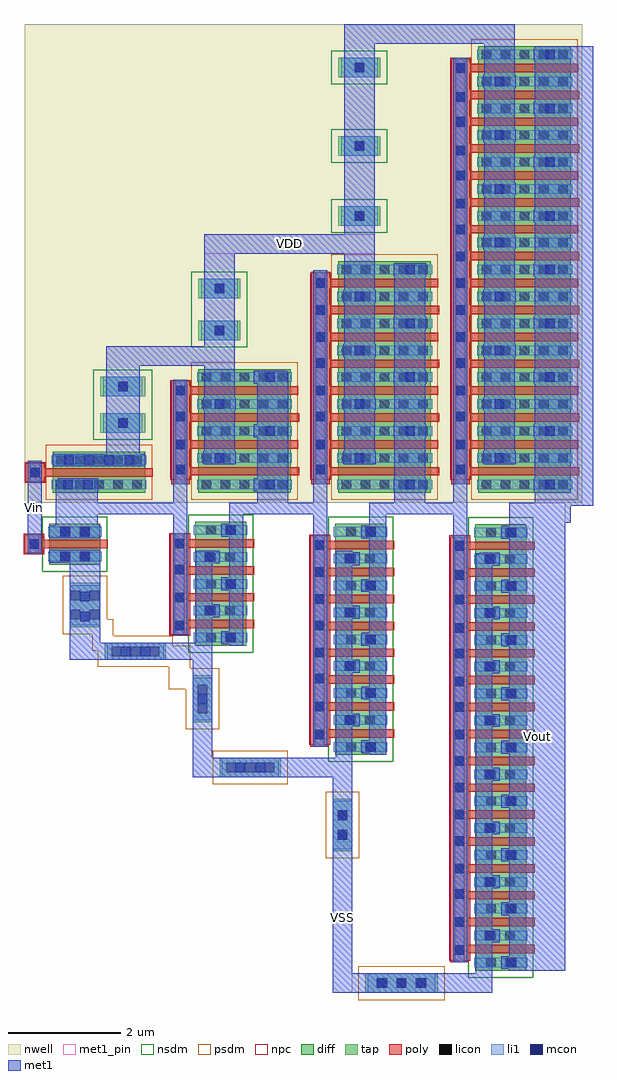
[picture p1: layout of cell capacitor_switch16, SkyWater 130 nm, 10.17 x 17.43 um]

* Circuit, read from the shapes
.subckt capacitor_switch16 VDD VSS Vin Vout
XM1 n1 Vin VSS VSS sky130_fd_pr__nfet_01v8 w=0.91 l=0.15
XM2 VSS n1 n2 VSS sky130_fd_pr__nfet_01v8 w=0.91 l=0.15 m=4
XM3 VSS n2 n3 VSS sky130_fd_pr__nfet_01v8 w=0.91 l=0.15 m=8
XM4 VSS n3 Vout VSS sky130_fd_pr__nfet_01v8 w=0.91 l=0.15 m=16
XM5 VDD Vin n1 VDD sky130_fd_pr__pfet_01v8 w=1.65 l=0.15
XM6 VDD n1 n2 VDD sky130_fd_pr__pfet_01v8 w=1.65 l=0.15 m=4
XM7 VDD n2 n3 VDD sky130_fd_pr__pfet_01v8 w=1.65 l=0.15 m=8
XM8 VDD n3 Vout VDD sky130_fd_pr__pfet_01v8 w=1.65 l=0.15 m=16
.ends

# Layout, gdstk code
from math import pi, radians
import gdstk
lib = gdstk.Library(unit=1e-6, precision=1e-09)
def R(c, l, rs):  # rectangles x0, y0, x1, y1
    for r in rs: c.add(gdstk.rectangle(r[:2], r[2:], *l))
def A(c, l, x, y, w, h, nx, ny, dx, dy):  # array of equal rectangles
    R(c, l, [(x+i*dx, y+j*dy, x+i*dx+w, y+j*dy+h) for i in range(nx) for j in range(ny)])
nwell = (64, 20)
diff = (65, 20)
tap = (65, 44)
poly = (66, 20)
licon = (66, 44)
li1 = (67, 20)
mcon = (67, 44)
met1_pin = (68, 16)
met1 = (68, 20)
nsdm = (93, 44)
psdm = (94, 20)
npc = (95, 20)

sky130_fd_pr__pfet_01v8_ = lib.new_cell('sky130_fd_pr__pfet_01v8_46WN3R')
R(sky130_fd_pr__pfet_01v8_, nwell, [(-0.545,-1.145,0.545,1.315)])
R(sky130_fd_pr__pfet_01v8_, diff, [(-0.365,-0.645,0.365,1.005)])
R(sky130_fd_pr__pfet_01v8_, poly, [(-0.165,-1.13,0.165,-0.8), (-0.075,-0.8,0.075,1.135)])
A(sky130_fd_pr__pfet_01v8_, licon, -0.305, -0.585, 0.17, 0.17, 1, 5, 0, 0.34)
A(sky130_fd_pr__pfet_01v8_, licon, 0.135, -0.585, 0.17, 0.17, 1, 5, 0, 0.34)
R(sky130_fd_pr__pfet_01v8_, licon, [(-0.085,-1.05,0.085,-0.88)])
R(sky130_fd_pr__pfet_01v8_, li1, [(-0.165,-1.05,0.165,-0.88), (-0.305,-0.665,-0.135,1.025), (0.135,-0.665,0.305,1.025)])
A(sky130_fd_pr__pfet_01v8_, mcon, 0.135, -0.445, 0.17, 0.17, 1, 4, 0, 0.36)
R(sky130_fd_pr__pfet_01v8_, mcon, [(-0.085,-1.05,0.085,-0.88), (-0.305,-0.46,-0.135,-0.29), (-0.305,-0.1,-0.135,0.07)])
R(sky130_fd_pr__pfet_01v8_, met1, [(-0.145,-1.08,0.145,-0.85), (0.105,-0.645,0.335,1.005), (-0.335,-0.56,-0.105,0.17)])
R(sky130_fd_pr__pfet_01v8_, psdm, [(-0.49,-0.77,0.49,1.13)])
R(sky130_fd_pr__pfet_01v8_, npc, [(-0.185,-1.15,0.185,-0.78)])

sky130_fd_pr__nfet_01v8_ = lib.new_cell('sky130_fd_pr__nfet_01v8_9CGS2F')
R(sky130_fd_pr__nfet_01v8_, diff, [(-0.365,-0.3,0.365,0.61)])
R(sky130_fd_pr__nfet_01v8_, poly, [(-0.165,-0.74,0.165,-0.41), (-0.075,-0.41,0.075,0.74)])
R(sky130_fd_pr__nfet_01v8_, licon, [(-0.085,-0.66,0.085,-0.49), (-0.305,-0.1,-0.135,0.07), (0.135,-0.1,0.305,0.07), (-0.305,0.24,-0.135,0.41), (0.135,0.24,0.305,0.41)])
R(sky130_fd_pr__nfet_01v8_, li1, [(-0.165,-0.66,0.165,-0.49), (-0.305,-0.32,-0.135,0.63), (0.135,-0.32,0.305,0.63)])
R(sky130_fd_pr__nfet_01v8_, mcon, [(-0.085,-0.66,0.085,-0.49), (-0.305,-0.11,-0.135,0.06), (0.135,-0.11,0.305,0.06), (-0.305,0.25,-0.135,0.42), (0.135,0.25,0.305,0.42)])
R(sky130_fd_pr__nfet_01v8_, met1, [(-0.145,-0.69,0.145,-0.46), (-0.335,-0.3,-0.105,0.61), (0.105,-0.3,0.335,0.61)])
R(sky130_fd_pr__nfet_01v8_, nsdm, [(-0.49,-0.425,0.49,0.735)])
R(sky130_fd_pr__nfet_01v8_, npc, [(-0.185,-0.76,0.185,-0.39)])

c_sky130_fd_pr__nfet_01v8_ = lib.new_cell('sky130_fd_pr__nfet_01v8_5EDJZL')
R(c_sky130_fd_pr__nfet_01v8_, diff, [(-1.105,-0.455,1.105,0.455)])
A(c_sky130_fd_pr__nfet_01v8_, poly, -0.795, -0.565, 0.15, 1.17, 4, 1, 0.48, 0)
R(c_sky130_fd_pr__nfet_01v8_, poly, [(-0.895,-0.895,0.905,-0.565)])
A(c_sky130_fd_pr__nfet_01v8_, licon, -0.345, -0.815, 0.17, 0.17, 3, 1, 0.5, 0)
A(c_sky130_fd_pr__nfet_01v8_, licon, -1.045, -0.255, 0.17, 0.17, 5, 2, 0.48, 0.34)
R(c_sky130_fd_pr__nfet_01v8_, licon, [(-0.805,-0.815,-0.635,-0.645)])
A(c_sky130_fd_pr__nfet_01v8_, li1, -1.045, -0.475, 0.17, 0.95, 5, 1, 0.48, 0)
R(c_sky130_fd_pr__nfet_01v8_, li1, [(-0.895,-0.815,0.905,-0.645)])
A(c_sky130_fd_pr__nfet_01v8_, mcon, -0.345, -0.815, 0.17, 0.17, 3, 1, 0.5, 0)
A(c_sky130_fd_pr__nfet_01v8_, mcon, -1.045, 0.105, 0.17, 0.17, 3, 1, 0.96, 0)
R(c_sky130_fd_pr__nfet_01v8_, mcon, [(-0.805,-0.815,-0.635,-0.645), (-0.565,-0.28,-0.395,-0.11), (0.395,-0.28,0.565,-0.11)])
A(c_sky130_fd_pr__nfet_01v8_, met1, -1.075, 0.015, 0.23, 0.355, 3, 1, 0.96, 0)
R(c_sky130_fd_pr__nfet_01v8_, met1, [(-0.895,-0.845,0.905,-0.615), (-0.595,-0.37,-0.365,-0.015), (0.365,-0.37,0.595,-0.015)])
R(c_sky130_fd_pr__nfet_01v8_, nsdm, [(-1.23,-0.58,1.23,0.58)])
R(c_sky130_fd_pr__nfet_01v8_, npc, [(-0.905,-0.915,0.925,-0.545)])

c_sky130_fd_pr__pfet_01v8_ = lib.new_cell('sky130_fd_pr__pfet_01v8_2FR7QD')
R(c_sky130_fd_pr__pfet_01v8_, nwell, [(-4.185,-1.325,4.165,1.025)])
R(c_sky130_fd_pr__pfet_01v8_, diff, [(-3.985,-0.825,3.985,0.825)])
A(c_sky130_fd_pr__pfet_01v8_, poly, -3.675, -0.98, 0.15, 1.935, 8, 1, 0.96, 0)
A(c_sky130_fd_pr__pfet_01v8_, poly, -3.195, -0.98, 0.15, 1.955, 8, 1, 0.96, 0)
R(c_sky130_fd_pr__pfet_01v8_, poly, [(-3.765,-1.31,3.835,-0.98)])
A(c_sky130_fd_pr__pfet_01v8_, licon, 0.155, -1.23, 0.17, 0.17, 3, 1, 0.48, 0)
A(c_sky130_fd_pr__pfet_01v8_, licon, -3.925, -0.765, 0.17, 0.17, 17, 5, 0.48, 0.34)
R(c_sky130_fd_pr__pfet_01v8_, licon, [(-3.685,-1.23,-3.515,-1.06), (-3.165,-1.23,-2.995,-1.06), (-2.725,-1.23,-2.555,-1.06), (-2.215,-1.23,-2.045,-1.06), (-1.765,-1.23,-1.595,-1.06), (-1.265,-1.23,-1.095,-1.06), (-0.805,-1.23,-0.635,-1.06), (-0.315,-1.23,-0.145,-1.06), (1.585,-1.23,1.755,-1.06), (2.075,-1.23,2.245,-1.06), (2.535,-1.23,2.705,-1.06), (3.035,-1.23,3.205,-1.06), (3.485,-1.23,3.655,-1.06)])
A(c_sky130_fd_pr__pfet_01v8_, li1, -3.925, -0.845, 0.17, 1.69, 17, 1, 0.48, 0)
R(c_sky130_fd_pr__pfet_01v8_, li1, [(-3.765,-1.23,3.835,-1.06)])
A(c_sky130_fd_pr__pfet_01v8_, mcon, 0.155, -1.23, 0.17, 0.17, 3, 1, 0.48, 0)
A(c_sky130_fd_pr__pfet_01v8_, mcon, -3.445, -0.535, 0.17, 0.17, 8, 1, 0.96, 0)
A(c_sky130_fd_pr__pfet_01v8_, mcon, -3.925, 0.365, 0.17, 0.17, 9, 1, 0.96, 0)
R(c_sky130_fd_pr__pfet_01v8_, mcon, [(-3.685,-1.23,-3.515,-1.06), (-3.165,-1.23,-2.995,-1.06), (-2.725,-1.23,-2.555,-1.06), (-2.215,-1.23,-2.045,-1.06), (-1.765,-1.23,-1.595,-1.06), (-1.265,-1.23,-1.095,-1.06), (-0.805,-1.23,-0.635,-1.06), (-0.315,-1.23,-0.145,-1.06), (1.585,-1.23,1.755,-1.06), (2.075,-1.23,2.245,-1.06), (2.535,-1.23,2.705,-1.06), (3.035,-1.23,3.205,-1.06), (3.485,-1.23,3.655,-1.06)])
A(c_sky130_fd_pr__pfet_01v8_, met1, -3.475, -0.74, 0.23, 0.58, 8, 1, 0.96, 0)
A(c_sky130_fd_pr__pfet_01v8_, met1, -3.955, 0.16, 0.23, 0.58, 9, 1, 0.96, 0)
R(c_sky130_fd_pr__pfet_01v8_, met1, [(-3.765,-1.26,3.835,-1.03)])
R(c_sky130_fd_pr__pfet_01v8_, psdm, [(-4.11,-0.95,4.11,0.95)])
R(c_sky130_fd_pr__pfet_01v8_, npc, [(-3.785,-1.33,3.755,-0.96)])

c_sky130_fd_pr__nfet_01v8__ = lib.new_cell('sky130_fd_pr__nfet_01v8_29RM5N')
R(c_sky130_fd_pr__nfet_01v8__, diff, [(-3.985,-0.455,3.985,0.455)])
A(c_sky130_fd_pr__nfet_01v8__, poly, -3.675, -0.565, 0.15, 1.17, 16, 1, 0.48, 0)
R(c_sky130_fd_pr__nfet_01v8__, poly, [(-3.765,-0.895,3.835,-0.565)])
A(c_sky130_fd_pr__nfet_01v8__, licon, 0.155, -0.815, 0.17, 0.17, 3, 1, 0.48, 0)
A(c_sky130_fd_pr__nfet_01v8__, licon, 2.535, -0.815, 0.17, 0.17, 3, 1, 0.5, 0)
A(c_sky130_fd_pr__nfet_01v8__, licon, -3.925, -0.255, 0.17, 0.17, 17, 2, 0.48, 0.34)
R(c_sky130_fd_pr__nfet_01v8__, licon, [(-3.685,-0.815,-3.515,-0.645), (-3.165,-0.815,-2.995,-0.645), (-2.725,-0.815,-2.555,-0.645), (-2.215,-0.815,-2.045,-0.645), (-1.765,-0.815,-1.595,-0.645), (-1.265,-0.815,-1.095,-0.645), (-0.805,-0.815,-0.635,-0.645), (-0.315,-0.815,-0.145,-0.645), (1.585,-0.815,1.755,-0.645), (2.075,-0.815,2.245,-0.645)])
A(c_sky130_fd_pr__nfet_01v8__, li1, -3.925, -0.475, 0.17, 0.95, 17, 1, 0.48, 0)
R(c_sky130_fd_pr__nfet_01v8__, li1, [(-3.765,-0.815,3.835,-0.645)])
A(c_sky130_fd_pr__nfet_01v8__, mcon, 0.155, -0.815, 0.17, 0.17, 3, 1, 0.48, 0)
A(c_sky130_fd_pr__nfet_01v8__, mcon, 2.535, -0.815, 0.17, 0.17, 3, 1, 0.5, 0)
A(c_sky130_fd_pr__nfet_01v8__, mcon, -3.445, -0.28, 0.17, 0.17, 8, 1, 0.96, 0)
A(c_sky130_fd_pr__nfet_01v8__, mcon, -3.925, 0.105, 0.17, 0.17, 9, 1, 0.96, 0)
R(c_sky130_fd_pr__nfet_01v8__, mcon, [(-3.685,-0.815,-3.515,-0.645), (-3.165,-0.815,-2.995,-0.645), (-2.725,-0.815,-2.555,-0.645), (-2.215,-0.815,-2.045,-0.645), (-1.765,-0.815,-1.595,-0.645), (-1.265,-0.815,-1.095,-0.645), (-0.805,-0.815,-0.635,-0.645), (-0.315,-0.815,-0.145,-0.645), (1.585,-0.815,1.755,-0.645), (2.075,-0.815,2.245,-0.645)])
A(c_sky130_fd_pr__nfet_01v8__, met1, -3.475, -0.37, 0.23, 0.355, 8, 1, 0.96, 0)
A(c_sky130_fd_pr__nfet_01v8__, met1, -3.955, 0.015, 0.23, 0.355, 9, 1, 0.96, 0)
R(c_sky130_fd_pr__nfet_01v8__, met1, [(-3.765,-0.845,3.835,-0.615)])
R(c_sky130_fd_pr__nfet_01v8__, nsdm, [(-4.11,-0.58,4.11,0.58)])
R(c_sky130_fd_pr__nfet_01v8__, npc, [(-3.785,-0.915,3.805,-0.545)])

c_sky130_fd_pr__pfet_01v8__ = lib.new_cell('sky130_fd_pr__pfet_01v8_BBSRKR')
R(c_sky130_fd_pr__pfet_01v8__, nwell, [(-2.255,-1.325,2.245,1.025)])
R(c_sky130_fd_pr__pfet_01v8__, diff, [(-2.065,-0.825,2.065,0.825)])
A(c_sky130_fd_pr__pfet_01v8__, poly, -1.755, -0.98, 0.15, 1.935, 4, 1, 0.96, 0)
A(c_sky130_fd_pr__pfet_01v8__, poly, -1.275, -0.98, 0.15, 1.955, 4, 1, 0.96, 0)
R(c_sky130_fd_pr__pfet_01v8__, poly, [(-1.885,-1.31,1.915,-0.98)])
A(c_sky130_fd_pr__pfet_01v8__, licon, -1.765, -1.23, 0.17, 0.17, 3, 1, 0.48, 0)
A(c_sky130_fd_pr__pfet_01v8__, licon, -2.005, -0.765, 0.17, 0.17, 9, 5, 0.48, 0.34)
R(c_sky130_fd_pr__pfet_01v8__, licon, [(-0.335,-1.23,-0.165,-1.06), (0.155,-1.23,0.325,-1.06), (0.615,-1.23,0.785,-1.06), (1.115,-1.23,1.285,-1.06), (1.565,-1.23,1.735,-1.06)])
A(c_sky130_fd_pr__pfet_01v8__, li1, -2.005, -0.845, 0.17, 1.69, 9, 1, 0.48, 0)
R(c_sky130_fd_pr__pfet_01v8__, li1, [(-1.885,-1.23,1.915,-1.06)])
A(c_sky130_fd_pr__pfet_01v8__, mcon, -1.765, -1.23, 0.17, 0.17, 3, 1, 0.48, 0)
A(c_sky130_fd_pr__pfet_01v8__, mcon, -1.525, -0.535, 0.17, 0.17, 4, 1, 0.96, 0)
A(c_sky130_fd_pr__pfet_01v8__, mcon, -2.005, 0.365, 0.17, 0.17, 5, 1, 0.96, 0)
R(c_sky130_fd_pr__pfet_01v8__, mcon, [(-0.335,-1.23,-0.165,-1.06), (0.155,-1.23,0.325,-1.06), (0.615,-1.23,0.785,-1.06), (1.115,-1.23,1.285,-1.06), (1.565,-1.23,1.735,-1.06)])
A(c_sky130_fd_pr__pfet_01v8__, met1, -1.555, -0.74, 0.23, 0.58, 4, 1, 0.96, 0)
A(c_sky130_fd_pr__pfet_01v8__, met1, -2.035, 0.16, 0.23, 0.58, 5, 1, 0.96, 0)
R(c_sky130_fd_pr__pfet_01v8__, met1, [(-1.885,-1.26,1.915,-1.03)])
R(c_sky130_fd_pr__pfet_01v8__, psdm, [(-2.19,-0.95,2.19,0.95)])
R(c_sky130_fd_pr__pfet_01v8__, npc, [(-1.865,-1.33,1.835,-0.96)])

c_sky130_fd_pr__nfet_01v8___ = lib.new_cell('sky130_fd_pr__nfet_01v8_HRFJZU')
R(c_sky130_fd_pr__nfet_01v8___, diff, [(-2.065,-0.455,2.065,0.455)])
A(c_sky130_fd_pr__nfet_01v8___, poly, -1.755, -0.565, 0.15, 1.17, 8, 1, 0.48, 0)
R(c_sky130_fd_pr__nfet_01v8___, poly, [(-1.845,-0.895,1.915,-0.565)])
A(c_sky130_fd_pr__nfet_01v8___, licon, -1.765, -0.815, 0.17, 0.17, 3, 1, 0.48, 0)
A(c_sky130_fd_pr__nfet_01v8___, licon, 0.615, -0.815, 0.17, 0.17, 3, 1, 0.5, 0)
A(c_sky130_fd_pr__nfet_01v8___, licon, -2.005, -0.255, 0.17, 0.17, 9, 2, 0.48, 0.34)
R(c_sky130_fd_pr__nfet_01v8___, licon, [(-0.335,-0.815,-0.165,-0.645), (0.155,-0.815,0.325,-0.645)])
A(c_sky130_fd_pr__nfet_01v8___, li1, -2.005, -0.475, 0.17, 0.95, 9, 1, 0.48, 0)
R(c_sky130_fd_pr__nfet_01v8___, li1, [(-1.845,-0.815,1.915,-0.645)])
A(c_sky130_fd_pr__nfet_01v8___, mcon, -1.765, -0.815, 0.17, 0.17, 3, 1, 0.48, 0)
A(c_sky130_fd_pr__nfet_01v8___, mcon, 0.615, -0.815, 0.17, 0.17, 3, 1, 0.5, 0)
A(c_sky130_fd_pr__nfet_01v8___, mcon, -1.525, -0.28, 0.17, 0.17, 4, 1, 0.96, 0)
A(c_sky130_fd_pr__nfet_01v8___, mcon, -2.005, 0.105, 0.17, 0.17, 5, 1, 0.96, 0)
R(c_sky130_fd_pr__nfet_01v8___, mcon, [(-0.335,-0.815,-0.165,-0.645), (0.155,-0.815,0.325,-0.645)])
A(c_sky130_fd_pr__nfet_01v8___, met1, -1.555, -0.37, 0.23, 0.355, 4, 1, 0.96, 0)
A(c_sky130_fd_pr__nfet_01v8___, met1, -2.035, 0.015, 0.23, 0.355, 5, 1, 0.96, 0)
R(c_sky130_fd_pr__nfet_01v8___, met1, [(-1.835,-0.845,1.915,-0.615)])
R(c_sky130_fd_pr__nfet_01v8___, nsdm, [(-2.19,-0.58,2.19,0.58)])
R(c_sky130_fd_pr__nfet_01v8___, npc, [(-1.865,-0.915,1.885,-0.545)])

c_sky130_fd_pr__pfet_01v8___ = lib.new_cell('sky130_fd_pr__pfet_01v8_BBAHKR')
R(c_sky130_fd_pr__pfet_01v8___, nwell, [(-1.315,-1.325,1.285,1.025)])
R(c_sky130_fd_pr__pfet_01v8___, diff, [(-1.105,-0.825,1.105,0.825)])
R(c_sky130_fd_pr__pfet_01v8___, poly, [(-0.895,-1.31,0.955,-0.98), (-0.795,-0.98,-0.645,0.955), (-0.315,-0.98,-0.165,0.975), (0.165,-0.98,0.315,0.955), (0.645,-0.98,0.795,0.975)])
A(c_sky130_fd_pr__pfet_01v8___, licon, -1.045, -0.765, 0.17, 0.17, 5, 5, 0.48, 0.34)
R(c_sky130_fd_pr__pfet_01v8___, licon, [(-0.805,-1.23,-0.635,-1.06), (-0.345,-1.23,-0.175,-1.06), (0.155,-1.23,0.325,-1.06), (0.605,-1.23,0.775,-1.06)])
A(c_sky130_fd_pr__pfet_01v8___, li1, -1.045, -0.845, 0.17, 1.69, 5, 1, 0.48, 0)
R(c_sky130_fd_pr__pfet_01v8___, li1, [(-0.895,-1.23,0.955,-1.06)])
A(c_sky130_fd_pr__pfet_01v8___, mcon, -1.045, 0.365, 0.17, 0.17, 3, 1, 0.96, 0)
R(c_sky130_fd_pr__pfet_01v8___, mcon, [(-0.805,-1.23,-0.635,-1.06), (-0.345,-1.23,-0.175,-1.06), (0.155,-1.23,0.325,-1.06), (0.605,-1.23,0.775,-1.06), (-0.565,-0.535,-0.395,-0.365), (0.395,-0.535,0.565,-0.365)])
A(c_sky130_fd_pr__pfet_01v8___, met1, -1.075, 0.16, 0.23, 0.58, 3, 1, 0.96, 0)
R(c_sky130_fd_pr__pfet_01v8___, met1, [(-0.895,-1.26,0.955,-1.03), (-0.595,-0.74,-0.365,-0.16), (0.365,-0.74,0.595,-0.16)])
R(c_sky130_fd_pr__pfet_01v8___, psdm, [(-1.23,-0.95,1.23,0.95)])
R(c_sky130_fd_pr__pfet_01v8___, npc, [(-0.905,-1.33,0.875,-0.96)])

capacitor_switch16 = lib.new_cell('capacitor_switch16')
R(capacitor_switch16, nwell, [(-1.5,5.5,8.45,14.05)])
R(capacitor_switch16, tap, [(4.58,-3.25,5.87,-2.9), (4,-0.72,4.35,0.22), (1.98,0.6,3.07,0.95), (1.5,1.58,1.85,2.42), (-0.07,2.7,1.02,3), (-0.7,3.28,-0.15,4.07), (-0.15,6.75,0.65,7.1), (-0.15,7.4,0.65,7.75), (1.6,8.4,2.35,8.75), (1.6,9.15,2.35,9.5), (4.1,10.45,4.85,10.8), (4.1,11.7,4.85,12.05), (4.1,13.1,4.85,13.45)])
A(capacitor_switch16, licon, 4.8, -3.16, 0.17, 0.17, 3, 1, 0.34, 0)
A(capacitor_switch16, licon, 2.1, 0.69, 0.17, 0.17, 3, 1, 0.34, 0)
A(capacitor_switch16, licon, 0.05, 2.765, 0.17, 0.17, 3, 1, 0.34, 0)
R(capacitor_switch16, licon, [(4.09,-0.505,4.26,-0.335), (4.09,-0.165,4.26,0.005), (1.59,1.745,1.76,1.915), (1.59,2.085,1.76,2.255), (-0.68,3.42,-0.51,3.59), (-0.34,3.42,-0.17,3.59), (-0.68,3.76,-0.51,3.93), (-0.34,3.76,-0.17,3.93), (0.165,6.84,0.335,7.01), (0.165,7.49,0.335,7.66), (1.89,8.49,2.06,8.66), (1.89,9.24,2.06,9.41), (4.39,10.54,4.56,10.71), (4.39,11.79,4.56,11.96), (4.39,13.19,4.56,13.36)])
R(capacitor_switch16, li1, [(4.62,-3.25,5.83,-2.9), (4,-0.68,4.35,0.18), (2.02,0.6,3.03,0.95), (1.5,1.62,1.85,2.38), (-0.03,2.7,0.98,3), (-0.7,3.32,-0.15,4.03), (-0.1,6.75,0.6,7.1), (-0.1,7.4,0.6,7.75), (1.65,8.4,2.3,8.75), (1.65,9.15,2.3,9.5), (4.15,10.45,4.8,10.8), (4.15,11.7,4.8,12.05), (4.15,13.1,4.8,13.45)])
A(capacitor_switch16, mcon, 4.78, -3.16, 0.17, 0.17, 3, 1, 0.36, 0)
R(capacitor_switch16, mcon, [(4.09,-0.515,4.26,-0.345), (4.09,-0.155,4.26,0.015), (2.26,0.69,2.43,0.86), (2.62,0.69,2.79,0.86), (1.59,1.915,1.76,2.085), (0.21,2.765,0.38,2.935), (0.57,2.765,0.74,2.935), (-0.51,3.385,-0.34,3.555), (-0.51,3.745,-0.34,3.915), (0.165,6.84,0.335,7.01), (0.165,7.49,0.335,7.66), (1.89,8.49,2.06,8.66), (1.89,9.24,2.06,9.41), (4.39,10.54,4.56,10.71), (4.39,11.79,4.56,11.96), (4.39,13.19,4.56,13.36)])
R(capacitor_switch16, met1_pin, [(4,-3.25,4.35,-0.55), (7.15,-2.85,8.15,5.5), (-1.45,4.6,-1.2,6.25), (1.7,9.95,4.75,10.3)])
R(capacitor_switch16, met1, [(4,-3.25,6.85,-2.9), (4,-2.9,4.35,0.6), (6.55,-2.9,6.85,4.6), (7.15,-2.85,8.15,5.15), (6.15,-2.7,6.4,5.3), (1.5,0.6,4.35,0.95), (1.5,0.95,1.85,2.7), (4.05,0.95,4.35,4.65), (4.65,1,4.95,5.3), (3.65,1.15,3.9,5.3), (-0.7,2.7,1.85,3), (2.15,2.95,2.4,5.3), (-0.7,3,-0.15,4.65), (1.55,3,1.85,4.65), (1.15,3.15,1.4,5.3), (-1.45,4.6,-1.2,6.25), (-0.95,4.9,-0.2,5.3), (7.15,5.15,8.25,5.45), (-0.95,5.3,1.4,5.5), (2.15,5.3,3.9,5.5), (4.65,5.3,6.4,5.5), (7.15,5.45,8.65,5.5), (-0.95,5.5,-0.2,5.9), (1.15,5.5,1.4,7.7), (2.65,5.5,3.2,7.85), (3.65,5.5,3.9,9.65), (5.1,5.5,5.65,9.75), (6.15,5.5,6.4,13.45), (7.6,5.5,8.65,13.65), (-0.05,6.15,0.55,7.95), (1.7,6.2,2.25,7.95), (4.2,6.2,4.75,9.95), (6.7,6.2,7.25,13.7), (-0.05,7.95,2.25,8.3), (1.7,8.3,2.25,9.95), (1.7,9.95,4.75,10.3), (4.2,10.3,4.75,13.7), (4.2,13.7,7.25,14.05)])
R(capacitor_switch16, nsdm, [(-0.275,6.625,0.775,7.875), (1.475,8.275,2.475,9.625), (3.975,10.325,4.975,10.925), (3.975,11.575,4.975,12.175), (3.975,12.975,4.975,13.575)])
R(capacitor_switch16, psdm, [(4.455,-3.375,5.995,-2.775), (3.875,-0.845,4.475,0.345), (1.855,0.475,3.195,1.075), (1.375,1.455,1.975,2.17), (1.07,2.17,1.975,2.545), (1.07,2.545,1.45,2.575), (-0.195,2.575,1.45,2.86), (-0.3,2.86,1.45,2.95), (-0.3,2.95,1.145,3.125), (-0.3,3.125,0.08,3.155), (-0.825,3.155,0.08,3.42), (-0.825,3.42,-0.025,4.195)])
capacitor_switch16.add(gdstk.Reference(sky130_fd_pr__pfet_01v8_, (-0.355,6.045), rotation=pi/2, x_reflection=True))
capacitor_switch16.add(gdstk.Reference(sky130_fd_pr__nfet_01v8_, (-0.76,4.765), rotation=3*pi/2))
capacitor_switch16.add(gdstk.Reference(c_sky130_fd_pr__nfet_01v8_, (1.995,4.055), rotation=3*pi/2))
capacitor_switch16.add(gdstk.Reference(c_sky130_fd_pr__pfet_01v8_, (7.425,9.665), rotation=3*pi/2))
capacitor_switch16.add(gdstk.Reference(c_sky130_fd_pr__nfet_01v8__, (6.995,1.135), rotation=3*pi/2))
capacitor_switch16.add(gdstk.Reference(c_sky130_fd_pr__pfet_01v8__, (4.925,7.745), rotation=3*pi/2))
capacitor_switch16.add(gdstk.Reference(c_sky130_fd_pr__nfet_01v8___, (4.495,3.065), rotation=3*pi/2))
capacitor_switch16.add(gdstk.Reference(c_sky130_fd_pr__pfet_01v8___, (2.425,6.785), rotation=3*pi/2))
capacitor_switch16.add(gdstk.Label('VDD', (3.225,10.125), layer=68, texttype=16))
capacitor_switch16.add(gdstk.Label('Vin', (-1.325,5.425), layer=68, texttype=16))
capacitor_switch16.add(gdstk.Label('Vout', (7.65,1.325), layer=68, texttype=16))
capacitor_switch16.add(gdstk.Label('VSS', (4.175,-1.9), layer=68, texttype=16))

lib.write_gds('capacitor_switch16.gds')
